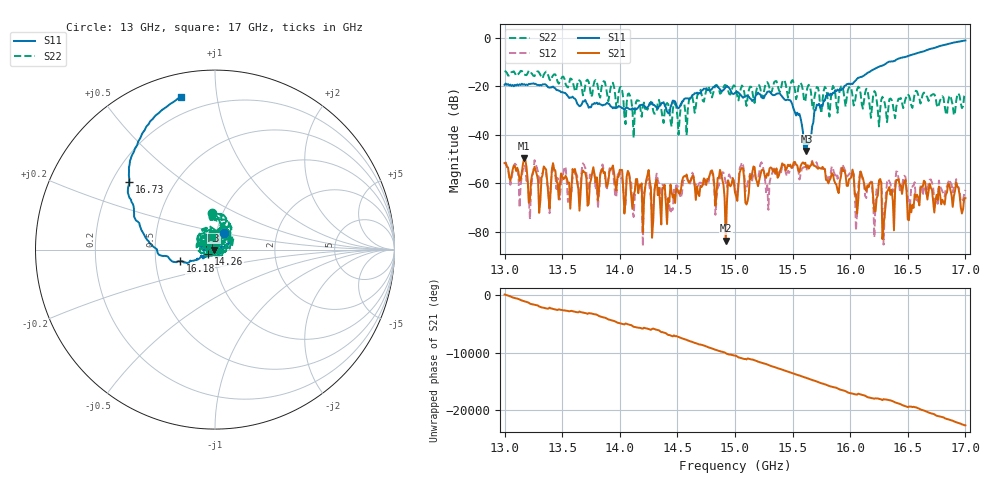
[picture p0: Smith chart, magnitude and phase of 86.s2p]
!Keysight Technologies,P9374A,MY57211807,A.19.30.04
!Date: Friday, May 01, 2026 14:29:11
!Correction: S11(C  2-Port  )
!S21(C  2-Port  )
!S12(C  2-Port  )
!S22(C  2-Port  )
!S2P File: Measurements: S11, S21, S12, S22:
# Hz S  RI  R 50
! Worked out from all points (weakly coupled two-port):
!   401 points, 13 GHz to 17 GHz, reference 50 ohm
!   highest |S21| = -49.73 dB at 13.17 GHz (marker M1); lowest = -83.6 dB at 14.92 GHz (marker M2)
!   lowest |S11| = -46.7 dB at 15.62 GHz (marker M3), VSWR 1.01, Z = 49.6 - j0.239 ohm
!   |S11| at or under -10 dB: start of sweep to 16.33 GHz
!   |S22| runs from -41.3 to -13.6 dB; largest |S21 - S12| = 0.0013
!   S11 on the Smith chart (normalised r, x): 13 GHz: 1.08, +0.21; 14.26 GHz: 0.92, -0.04; 16.18 GHz: 0.67, -0.09; 16.73 GHz: 0.27, +0.33; 17 GHz: 0.11, +0.80
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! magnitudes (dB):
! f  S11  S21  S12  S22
! 13 GHz  -19.4  -51.7  -51.6  -13.7
! 13.17 GHz  -19.2  -49.7  -52.4  -15.2
! 13.21 GHz  -19.1  -67.9  -66.1  -13.6
! 13.27 GHz  -19.0  -54.8  -52.1  -14.7
! 13.38 GHz  -20.5  -65.1  -62.0  -15.7
! 13.67 GHz  -27.4  -56.2  -54.1  -20.7
! 14.26 GHz  -26.9  -59.0  -62.1  -28.1
! 14.34 GHz  -28.2  -61.8  -60.2  -25.6
! 14.43 GHz  -31.2  -67.7  -69.2  -30.0
! 14.79 GHz  -21.5  -54.9  -55.8  -22.9
! 14.92 GHz  -20.4  -83.6  -60.3  -19.6
! 15 GHz  -22.8  -63.7  -62.9  -20.1
! 15.06 GHz  -24.2  -53.6  -51.4  -19.7
! 15.1 GHz  -23.8  -68.7  -62.8  -28.1
! 15.47 GHz  -25.7  -52.9  -55.6  -22.6
! 15.62 GHz  -46.7  -53.6  -54.7  -22.5
! 15.67 GHz  -36.5  -51.2  -50.7  -27.8
! 16.18 GHz  -13.7  -59.7  -59.2  -33.1
! 16.3 GHz  -11.0  -72.5  -70.3  -26.9
! 16.34 GHz  -9.9  -61.5  -59.2  -25.3
! 16.73 GHz  -4.3  -72.0  -66.5  -23.4
! 17 GHz  -1.2  -66.1  -62.7  -22.7
